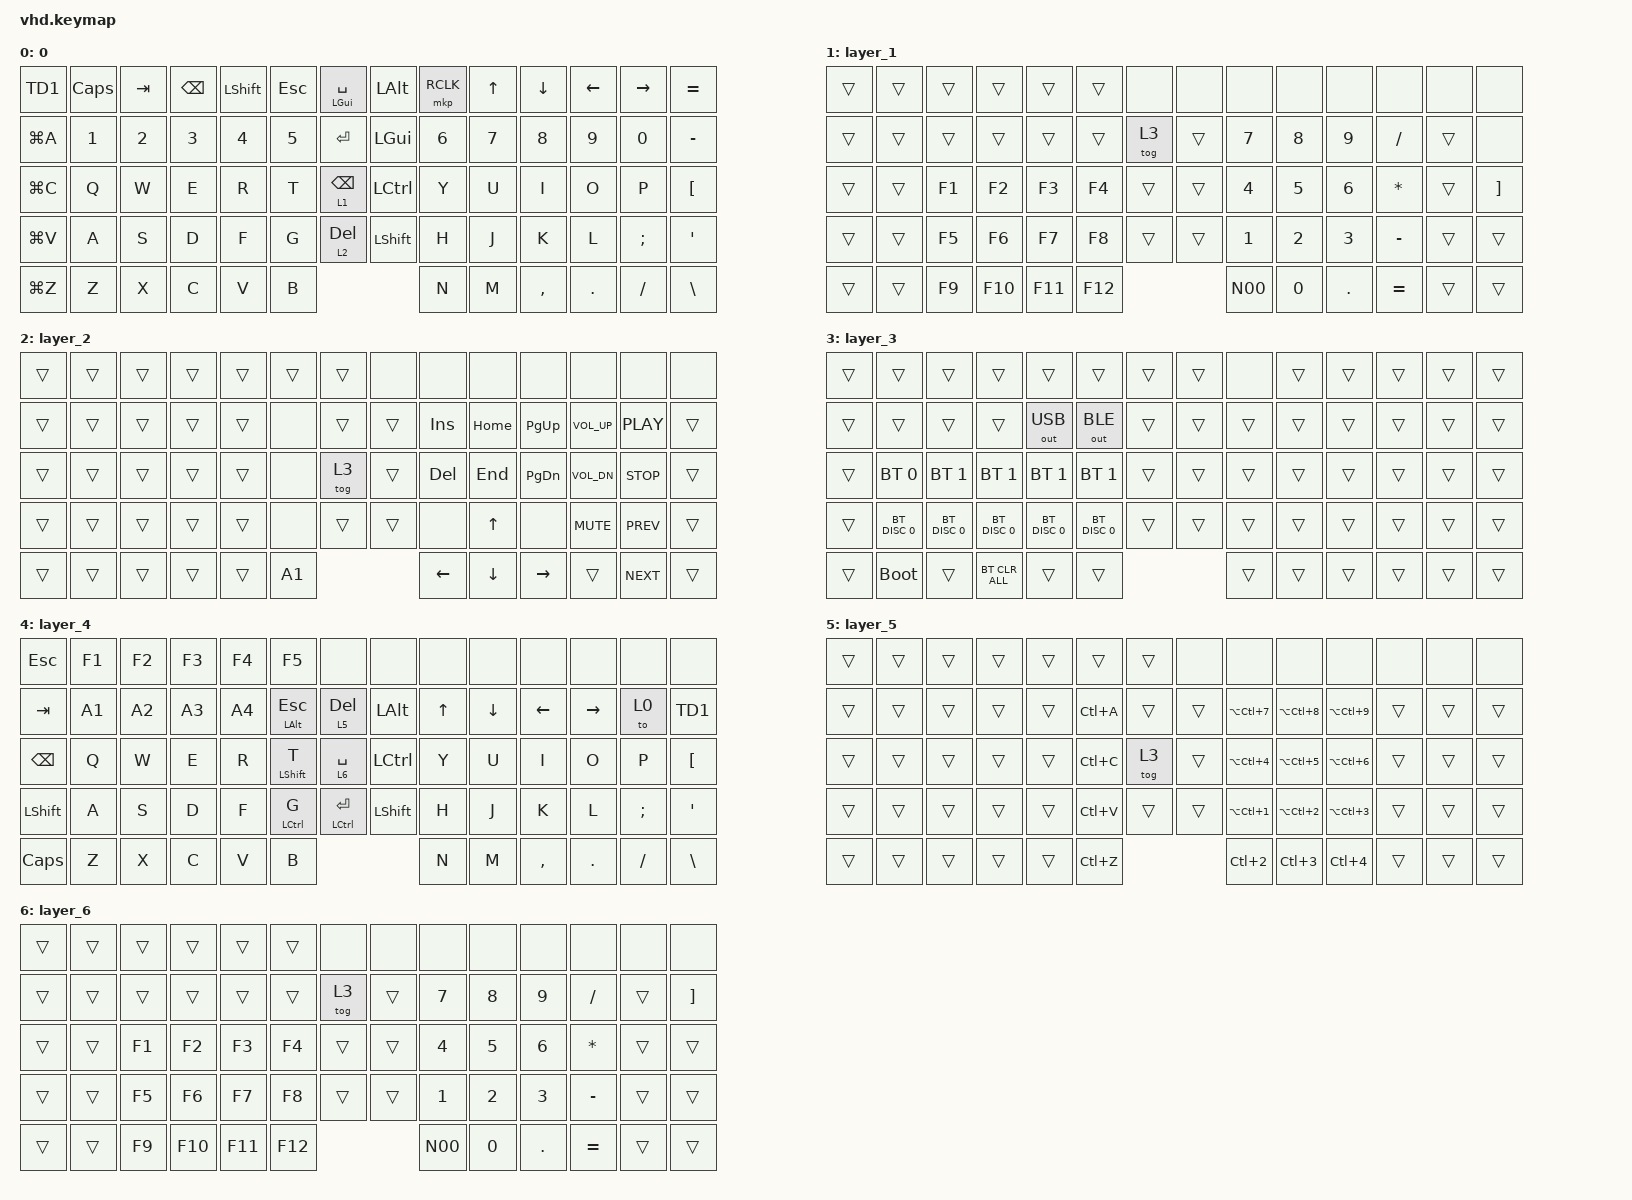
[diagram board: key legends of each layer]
/*
* Copyright (c) 2020 The ZMK Contributors
*
* SPDX-License-Identifier: MIT
*/
/* THIS FILE WAS GENERATED!
*
* This file was generated automatically. You may or may not want to
* edit it directly.
*/

#include <behaviors.dtsi>
#include <dt-bindings/zmk/bt.h>
#include <dt-bindings/zmk/keys.h>
#include <dt-bindings/zmk/mouse.h>
#include <dt-bindings/zmk/outputs.h>

/ {
    macros {
        N00: N00 {
            compatible = "zmk,behavior-macro";
            #binding-cells = <0>;
            bindings = <&kp N0 &kp N0>;
            label = "N00";
        };

        A1: A1 {
            compatible = "zmk,behavior-macro";
            #binding-cells = <0>;
            bindings = <&kp N3 &kp N1 &kp N0 &kp N1 &kp N1 &kp N1 &kp N8 &kp N1>;
            label = "A1";
        };

        A2: A2 {
            compatible = "zmk,behavior-macro";
            #binding-cells = <0>;
            bindings = <&kp NUMBER_2 &kp ENTER>;
            label = "A2";
        };

        A3: A3 {
            compatible = "zmk,behavior-macro";
            #binding-cells = <0>;
            bindings = <&kp NUMBER_3 &kp ENTER>;
            label = "A3";
        };

        A4: A4 {
            compatible = "zmk,behavior-macro";
            #binding-cells = <0>;
            bindings = <&kp NUMBER_4 &kp ENTER>;
            label = "A4";
        };
    };

    behaviors {
        TD1: TD1 {
            compatible = "zmk,behavior-tap-dance";
            label = "TD1";
            #binding-cells = <0>;
            bindings = <&mt C LG(C)>, <&kp LG(V)>;
        };
    };

    keymap {
        compatible = "zmk,keymap";

        default_layer {
            display-name = "0";
            bindings = <
&TD1       &kp CAPSLOCK  &kp TAB       &kp BACKSPACE  &kp LEFT_SHIFT  &kp ESCAPE  &mt LEFT_GUI SPACE  &kp LEFT_ALT    &mkp RCLK     &kp UP_ARROW  &kp DOWN_ARROW  &kp LEFT_ARROW  &kp RIGHT_ARROW  &kp EQUAL
&kp LG(A)  &kp NUMBER_1  &kp NUMBER_2  &kp NUMBER_3   &kp NUMBER_4    &kp N5      &kp ENTER           &kp LEFT_GUI    &kp NUMBER_6  &kp NUMBER_7  &kp NUMBER_8    &kp NUMBER_9    &kp NUMBER_0     &kp MINUS
&kp LG(C)  &kp Q         &kp W         &kp E          &kp R           &kp T       &lt 1 BACKSPACE     &kp LCTRL       &kp Y         &kp U         &kp I           &kp O           &kp P            &kp LEFT_BRACKET
&kp LG(V)  &kp A         &kp S         &kp D          &kp F           &kp G       &lt 2 DELETE        &kp LEFT_SHIFT  &kp H         &kp J         &kp K           &kp L           &kp SEMI         &kp SQT
&kp LG(Z)  &kp Z         &kp X         &kp C          &kp V           &kp B                                           &kp N         &kp M         &kp COMMA       &kp DOT         &kp FSLH         &kp BACKSLASH
            >;
        };

        layer_1 {
            bindings = <
&trans  &trans  &trans  &trans   &trans   &trans   &none   &none   &none   &none   &none    &none      &none   &none
&trans  &trans  &trans  &trans   &trans   &trans   &tog 3  &trans  &kp N7  &kp N8  &kp N9   &kp SLASH  &trans  &none
&trans  &trans  &kp F1  &kp F2   &kp F3   &kp F4   &trans  &trans  &kp N4  &kp N5  &kp N6   &kp STAR   &trans  &kp RIGHT_BRACKET
&trans  &trans  &kp F5  &kp F6   &kp F7   &kp F8   &trans  &trans  &kp N1  &kp N2  &kp N3   &kp MINUS  &trans  &trans
&trans  &trans  &kp F9  &kp F10  &kp F11  &kp F12                  &N00    &kp N0  &kp DOT  &kp EQUAL  &trans  &trans
            >;
        };

        layer_2 {
            bindings = <
&trans  &trans  &trans  &trans  &trans  &trans  &trans  &none   &none           &none           &none            &none            &none       &none
&trans  &trans  &trans  &trans  &trans  &none   &trans  &trans  &kp INSERT      &kp HOME        &kp PAGE_UP      &kp C_VOLUME_UP  &kp C_PLAY  &trans
&trans  &trans  &trans  &trans  &trans  &none   &tog 3  &trans  &kp DELETE      &kp END         &kp PAGE_DOWN    &kp C_VOL_DN     &kp K_STOP  &trans
&trans  &trans  &trans  &trans  &trans  &none   &trans  &trans  &none           &kp UP_ARROW    &none            &kp K_MUTE       &kp K_PREV  &trans
&trans  &trans  &trans  &trans  &trans  &A1                     &kp LEFT_ARROW  &kp DOWN_ARROW  &kp RIGHT_ARROW  &trans           &kp K_NEXT  &trans
            >;
        };

        layer_3 {
            bindings = <
&trans  &trans         &trans         &trans          &trans         &trans         &trans  &trans  &none   &trans  &trans  &trans  &trans  &trans
&trans  &trans         &trans         &trans          &out OUT_USB   &out OUT_BLE   &trans  &trans  &trans  &trans  &trans  &trans  &trans  &trans
&trans  &bt BT_SEL 0   &bt BT_SEL 1   &bt BT_SEL 1    &bt BT_SEL 1   &bt BT_SEL 1   &trans  &trans  &trans  &trans  &trans  &trans  &trans  &trans
&trans  &bt BT_DISC 0  &bt BT_DISC 0  &bt BT_DISC 0   &bt BT_DISC 0  &bt BT_DISC 0  &trans  &trans  &trans  &trans  &trans  &trans  &trans  &trans
&trans  &bootloader    &trans         &bt BT_CLR_ALL  &trans         &trans                         &trans  &trans  &trans  &trans  &trans  &trans
            >;
        };

        layer_4 {
            bindings = <
&kp ESC        &kp F1  &kp F2  &kp F3  &kp F4  &kp F5        &none            &none           &none         &none           &none           &none            &none     &none
&kp TAB        &A1     &A2     &A3     &A4     &mt LALT ESC  &lt 5 DELETE     &kp LEFT_ALT    &kp UP_ARROW  &kp DOWN_ARROW  &kp LEFT_ARROW  &kp RIGHT_ARROW  &to 0     &TD1
&kp BACKSPACE  &kp Q   &kp W   &kp E   &kp R   &mt LSHFT T   &lt 6 SPACE      &kp LCTRL       &kp Y         &kp U           &kp I           &kp O            &kp P     &kp LEFT_BRACKET
&kp LSHIFT     &kp A   &kp S   &kp D   &kp F   &mt LCTRL G   &mt LCTRL ENTER  &kp LEFT_SHIFT  &kp H         &kp J           &kp K           &kp L            &kp SEMI  &kp SQT
&kp CAPSLOCK   &kp Z   &kp X   &kp C   &kp V   &kp B                                          &kp N         &kp M           &kp COMMA       &kp DOT          &kp FSLH  &kp BACKSLASH
            >;
        };

        layer_5 {
            bindings = <
&trans  &trans  &trans  &trans  &trans  &trans     &trans  &none   &none             &none             &none             &none   &none   &none
&trans  &trans  &trans  &trans  &trans  &kp LC(A)  &trans  &trans  &kp LA(LC(N7))    &kp LA(LC(N8))    &kp LA(LC(N9))    &trans  &trans  &trans
&trans  &trans  &trans  &trans  &trans  &kp LC(C)  &tog 3  &trans  &kp LA(LC(N4))    &kp LA(LC(N5))    &kp LA(LC(N6))    &trans  &trans  &trans
&trans  &trans  &trans  &trans  &trans  &kp LC(V)  &trans  &trans  &kp LA(LC(N1))    &kp LA(LC(N2))    &kp LA(LC(N3))    &trans  &trans  &trans
&trans  &trans  &trans  &trans  &trans  &kp LC(Z)                  &kp LC(NUMBER_2)  &kp LC(NUMBER_3)  &kp LC(NUMBER_4)  &trans  &trans  &trans
            >;
        };

        layer_6 {
            bindings = <
&trans  &trans  &trans  &trans   &trans   &trans   &none   &none   &none   &none   &none    &none      &none   &none
&trans  &trans  &trans  &trans   &trans   &trans   &tog 3  &trans  &kp N7  &kp N8  &kp N9   &kp SLASH  &trans  &kp RIGHT_BRACKET
&trans  &trans  &kp F1  &kp F2   &kp F3   &kp F4   &trans  &trans  &kp N4  &kp N5  &kp N6   &kp STAR   &trans  &trans
&trans  &trans  &kp F5  &kp F6   &kp F7   &kp F8   &trans  &trans  &kp N1  &kp N2  &kp N3   &kp MINUS  &trans  &trans
&trans  &trans  &kp F9  &kp F10  &kp F11  &kp F12                  &N00    &kp N0  &kp DOT  &kp EQUAL  &trans  &trans
            >;
        };
    };
};
